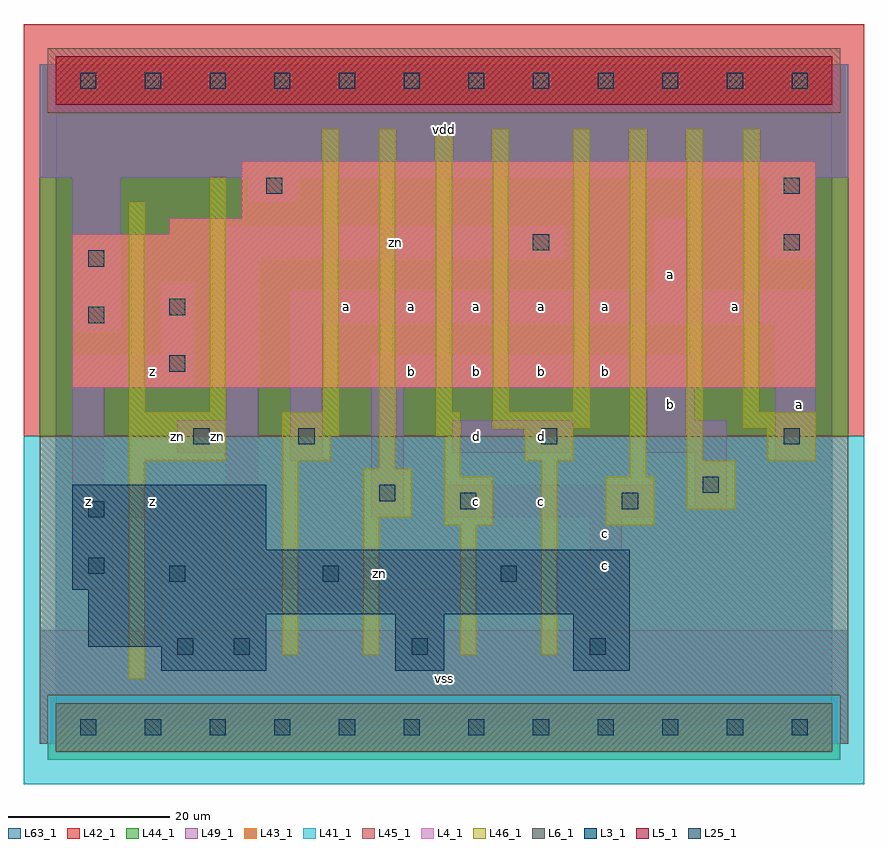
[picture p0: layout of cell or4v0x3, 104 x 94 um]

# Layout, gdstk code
import gdstk
lib = gdstk.Library(unit=1e-6, precision=1e-09)
def R(c, l, rs):  # rectangles x0, y0, x1, y1
    for r in rs: c.add(gdstk.rectangle(r[:2], r[2:], *l))
def A(c, l, x, y, w, h, nx, ny, dx, dy):  # array of equal rectangles
    R(c, l, [(x+i*dx, y+j*dy, x+i*dx+w, y+j*dy+h) for i in range(nx) for j in range(ny)])
L3_1 = (3, 1)
L4_1 = (4, 1)
L5_1 = (5, 1)
L6_1 = (6, 1)
L25_1 = (25, 1)
L41_1 = (41, 1)
L42_1 = (42, 1)
L43_1 = (43, 1)
L44_1 = (44, 1)
L45_1 = (45, 1)
L46_1 = (46, 1)
L49_1 = (49, 1)
L63_1 = (63, 1)

or4v0x3 = lib.new_cell('or4v0x3')
R(or4v0x3, L3_1, [(13,7,26,10), (42,7,48,14), (64,7,71,14), (4,10,26,14), (4,14,71,17), (2,17,71,22), (2,22,26,30)])
R(or4v0x3, L4_1, [(2,42,94,61), (14,61,94,63), (23,63,94,70)])
R(or4v0x3, L5_1, [(0,77,96,83)])
R(or4v0x3, L6_1, [(0,-3,96,3), (0,-3,96,3)])
A(or4v0x3, L25_1, 3, -1, 2, 2, 12, 2, 8, 80)
A(or4v0x3, L25_1, 22, 9, 2, 2, 3, 1, 22, 0)
A(or4v0x3, L25_1, 30, 35, 2, 2, 3, 1, 30, 0)
R(or4v0x3, L25_1, [(15,9,17,11), (14,18,16,20), (33,18,35,20), (55,18,57,20), (4,19,6,21), (4,26,6,28), (50,27,52,29), (70,27,72,29), (40,28,42,30), (80,29,82,31), (17,35,19,37), (14,44,16,46), (4,50,6,52), (14,51,16,53), (4,57,6,59), (59,59,61,61), (90,59,92,61), (26,66,28,68), (90,66,92,68)])
R(or4v0x3, L41_1, [(-4,-7,100,36)])
R(or4v0x3, L42_1, [(-4,36,100,87)])
R(or4v0x3, L43_1, [(0,-3,96,3), (13,7,26,10), (42,7,48,14), (64,7,71,14), (4,10,26,14), (4,14,71,17), (2,17,71,22), (2,22,26,30), (2,42,94,61), (14,61,94,63), (23,63,94,70), (0,77,96,83)])
R(or4v0x3, L44_1, [(-1,-4,97,4), (-2,36,98,76), (-2,76,-1,82), (97,76,98,82)])
R(or4v0x3, L45_1, [(-2,-2,-1,4), (97,-2,98,4), (-2,4,98,36), (-1,76,97,84)])
R(or4v0x3, L46_1, [(9,6,11,33), (28,9,30,33), (38,9,40,26), (50,9,52,25), (60,9,62,33), (48,25,54,31), (68,25,74,31), (38,26,44,32), (78,27,84,33), (48,31,50,36), (71,31,73,74), (40,32,42,74), (9,33,21,39), (28,33,34,36), (58,33,64,37), (78,33,80,74), (88,33,94,37), (28,36,35,39), (47,36,50,39), (54,37,66,39), (85,37,94,39), (9,39,11,65), (19,39,21,68), (33,39,35,74), (47,39,49,74), (54,39,56,74), (64,39,66,74), (85,39,87,74)])
R(or4v0x3, L49_1, [(-2,-2,98,12), (13,12,17,22), (2,17,7,26), (21,17,59,21), (66,17,70,26), (21,21,25,34), (2,26,15,30), (39,26,43,42), (48,26,74,30), (79,27,83,34), (2,30,6,42), (29,33,33,50), (89,33,94,50), (15,34,25,38), (49,34,64,38), (73,34,83,38), (21,38,25,58), (73,38,79,42), (2,42,17,46), (39,42,79,46), (13,46,17,55), (2,49,8,68), (29,50,94,54), (74,54,78,63), (21,58,63,62), (88,58,94,68), (24,65,30,68), (-2,68,98,82)])
R(or4v0x3, L63_1, [(0,0,96,80)])
or4v0x3.add(gdstk.Label('zn', (15,36), layer=46, texttype=1))
or4v0x3.add(gdstk.Label('z', (4,28), layer=49, texttype=1))
or4v0x3.add(gdstk.Label('z', (12,28), layer=49, texttype=1))
or4v0x3.add(gdstk.Label('z', (12,44), layer=49, texttype=1))
or4v0x3.add(gdstk.Label('zn', (20,36), layer=49, texttype=1))
or4v0x3.add(gdstk.Label('vss', (48,6), layer=49, texttype=1))
or4v0x3.add(gdstk.Label('c', (52,28), layer=49, texttype=1))
or4v0x3.add(gdstk.Label('b', (44,44), layer=49, texttype=1))
or4v0x3.add(gdstk.Label('d', (52,36), layer=49, texttype=1))
or4v0x3.add(gdstk.Label('b', (52,44), layer=49, texttype=1))
or4v0x3.add(gdstk.Label('a', (44,52), layer=49, texttype=1))
or4v0x3.add(gdstk.Label('a', (52,52), layer=49, texttype=1))
or4v0x3.add(gdstk.Label('a', (36,52), layer=49, texttype=1))
or4v0x3.add(gdstk.Label('vdd', (48,74), layer=49, texttype=1))
or4v0x3.add(gdstk.Label('c', (60,28), layer=49, texttype=1))
or4v0x3.add(gdstk.Label('zn', (40,19), layer=49, texttype=1))
or4v0x3.add(gdstk.Label('c', (68,20), layer=49, texttype=1))
or4v0x3.add(gdstk.Label('c', (68,24), layer=49, texttype=1))
or4v0x3.add(gdstk.Label('d', (60,36), layer=49, texttype=1))
or4v0x3.add(gdstk.Label('b', (60,44), layer=49, texttype=1))
or4v0x3.add(gdstk.Label('b', (68,44), layer=49, texttype=1))
or4v0x3.add(gdstk.Label('b', (76,40), layer=49, texttype=1))
or4v0x3.add(gdstk.Label('a', (68,52), layer=49, texttype=1))
or4v0x3.add(gdstk.Label('a', (60,52), layer=49, texttype=1))
or4v0x3.add(gdstk.Label('zn', (42,60), layer=49, texttype=1))
or4v0x3.add(gdstk.Label('a', (76,56), layer=49, texttype=1))
or4v0x3.add(gdstk.Label('a', (92,40), layer=49, texttype=1))
or4v0x3.add(gdstk.Label('a', (84,52), layer=49, texttype=1))

lib.write_gds('or4v0x3.gds')
